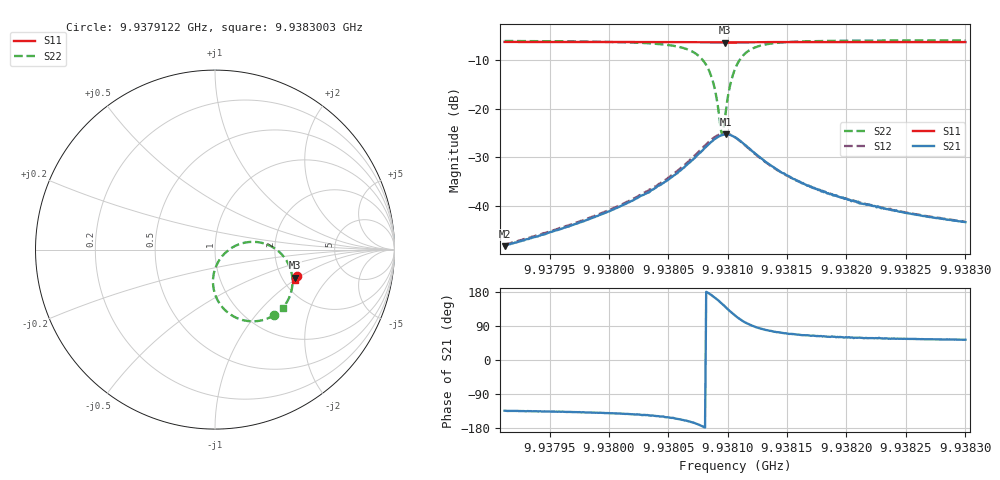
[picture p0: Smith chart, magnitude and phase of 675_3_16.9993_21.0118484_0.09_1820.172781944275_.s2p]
#  HZ  S  RI  R  50.00
! Rohde & Schwarz Vector Network Analyzer
! Rohde-Schwarz,ZNB20-2Port,1311601062101988,3.16
! Created: UTC 3/20/2024, 11:22:20 PM
! freq[Hz]  re:S11  im:S11  re:S21  im:S21  re:S12  im:S12  re:S22  im:S22
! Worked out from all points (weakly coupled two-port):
!   401 points, 9.9379122 GHz to 9.9383003 GHz, reference 50 ohm
!   highest |S21| = -25.26 dB at 9.9380985 GHz (marker M1); lowest = -48.1 dB at 9.9379122 GHz (marker M2)
!   lowest |S11| = -6.5 dB at 9.9380975 GHz (marker M3), VSWR 2.80, Z = 117 - j47.5 ohm
!   |S11| at or under -10 dB: nowhere
!   |S22| runs from -25.4 to -6.1 dB; largest |S21 - S12| = 0.0052
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9.93791218e9  0.4575 -0.1485  -0.00271 -0.00283  -0.00286 -0.00287  0.3306 -0.3639
9.93797719e9  0.4555 -0.1529  -0.00517 -0.00463  -0.00537 -0.00466  0.3055 -0.3781
9.93801502e9  0.4541 -0.1557  -0.00847 -0.00657  -0.00892 -0.00665  0.2735 -0.3904
9.93804219e9  0.4529 -0.1579  -0.0139 -0.00856  -0.0147 -0.0085  0.2248 -0.3993
9.93806547e9  0.4511 -0.1598  -0.0248 -0.00901  -0.0264 -0.00847  0.131 -0.3852
9.93807808e9  0.4492 -0.1602  -0.0364 -0.00391  -0.0388 -0.0022  0.0414 -0.3214
9.93808293e9  0.4483 -0.16  -0.0417 0.00124  -0.0441 0.00396  0.00703 -0.2663
9.93808682e9  0.4475 -0.1596  -0.0455 0.00783  -0.0475 0.0112  -0.00977 -0.2039
9.93808973e9  0.4471 -0.159  -0.0472 0.014  -0.0483 0.0184  -0.00916 -0.1474
9.93809458e9  0.4469 -0.1579  -0.0463 0.0261  -0.0456 0.0312  0.0292 -0.0505
9.93809555e9  0.4468 -0.1577  -0.0453 0.0287  -0.0443 0.0337  0.0427 -0.0331
9.93809749e9  0.4468 -0.1573  -0.0427 0.0335  -0.0409 0.0381  0.0752 -0.00275
9.93809846e9  0.447 -0.157  -0.0413 0.0357  -0.0388 0.04  0.0933 0.00988
9.93810234e9  0.4477 -0.1563  -0.033 0.0425  -0.0295 0.0454  0.1733 0.0402
9.93810622e9  0.4488 -0.156  -0.0235 0.0453  -0.0197 0.0469  0.2507 0.0396
9.93811398e9  0.4504 -0.1564  -0.00777 0.0424  -0.00538 0.0425  0.3589 -0.0138
9.93812465e9  0.4516 -0.1579  0.00243 0.0335  0.00372 0.0329  0.4178 -0.1005
9.93814503e9  0.4518 -0.1604  0.00692 0.0213  0.00751 0.0209  0.4308 -0.2002
9.93817122e9  0.4515 -0.163  0.00679 0.0141  0.00712 0.0139  0.4179 -0.2564
9.93821294e9  0.4501 -0.1662  0.00552 0.00909  0.00584 0.00906  0.3992 -0.2944
9.93823622e9  0.4495 -0.1678  0.00514 0.00772  0.00525 0.0078  0.3918 -0.3058
9.93830025e9  0.4476 -0.1721  0.00411 0.00554  0.00428 0.00552  0.3776 -0.3245
